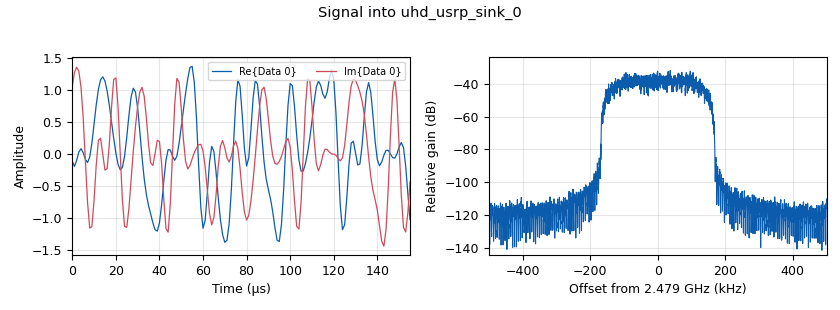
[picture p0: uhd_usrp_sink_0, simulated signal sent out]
<?xml version='1.0' encoding='utf-8'?>
<?grc format='1' created='3.7.12'?>
<flow_graph>
<block>
<key>options</key>
<param><key>id</key><value>energy_detector</value></param>
<param><key>generate_options</key><value>qt_gui</value></param>
</block>
<block>
<key>variable</key>
<param><key>id</key><value>center_freq</value></param>
<param><key>value</key><value>2480e6</value></param>
</block>
<block>
<key>variable_qtgui_check_box</key>
<param><key>id</key><value>enable_tx</value></param>
<param><key>value</key><value>True</value></param>
<param><key>false</key><value>0</value></param>
<param><key>true</key><value>1</value></param>
<param><key>type</key><value>raw</value></param>
</block>
<block>
<key>variable_qtgui_range</key>
<param><key>id</key><value>gain</value></param>
<param><key>value</key><value>1</value></param>
<param><key>orient</key><value>Qt.Horizontal</value></param>
<param><key>start</key><value>0</value></param>
<param><key>step</key><value>1</value></param>
<param><key>stop</key><value>50</value></param>
</block>
<block>
<key>variable_qtgui_range</key>
<param><key>id</key><value>gain_rx</value></param>
<param><key>value</key><value>20</value></param>
<param><key>orient</key><value>Qt.Horizontal</value></param>
<param><key>start</key><value>0</value></param>
<param><key>step</key><value>1</value></param>
<param><key>stop</key><value>60</value></param>
</block>
<block>
<key>variable_qtgui_range</key>
<param><key>id</key><value>gain_tx</value></param>
<param><key>value</key><value>10</value></param>
<param><key>orient</key><value>Qt.Horizontal</value></param>
<param><key>start</key><value>0</value></param>
<param><key>step</key><value>1</value></param>
<param><key>stop</key><value>50</value></param>
</block>
<block>
<key>variable</key>
<param><key>id</key><value>rx_device</value></param>
<param><key>value</key><value>"serial=30F551E"</value></param>
</block>
<block>
<key>variable</key>
<param><key>id</key><value>samp_rate</value></param>
<param><key>value</key><value>4e6</value></param>
</block>
<block>
<key>variable</key>
<param><key>id</key><value>samp_rate_tx</value></param>
<param><key>value</key><value>1e6</value></param>
</block>
<block>
<key>variable_qtgui_range</key>
<param><key>id</key><value>tx_center_freq</value></param>
<param><key>value</key><value>2479e6</value></param>
<param><key>orient</key><value>Qt.Horizontal</value></param>
<param><key>start</key><value>2479e6</value></param>
<param><key>step</key><value>1e6</value></param>
<param><key>stop</key><value>2481e6</value></param>
</block>
<block>
<key>variable</key>
<param><key>id</key><value>tx_device</value></param>
<param><key>value</key><value>"serial=30FD822"</value></param>
</block>
<block>
<key>analog_random_source_x</key>
<param><key>id</key><value>analog_random_source_x_0</value></param>
<param><key>max</key><value>256</value></param>
<param><key>min</key><value>0</value></param>
<param><key>num_samps</key><value>1000</value></param>
<param><key>type</key><value>byte</value></param>
<param><key>repeat</key><value>True</value></param>
</block>
<block>
<key>blocks_multiply_const_vxx</key>
<param><key>id</key><value>blocks_multiply_const_vxx_1</value></param>
<param><key>const</key><value>gain</value></param>
<param><key>type</key><value>complex</value></param>
</block>
<block>
<key>blocks_multiply_const_vxx</key>
<param><key>id</key><value>blocks_multiply_const_vxx_1_0</value></param>
<param><key>const</key><value>gain</value></param>
<param><key>type</key><value>complex</value></param>
<param><key>vlen</key><value>enable_tx</value></param>
</block>
<block>
<key>digital_dxpsk_mod</key>
<param><key>id</key><value>digital_dxpsk_mod_0</value></param>
<param><key>excess_bw</key><value>0.35</value></param>
<param><key>mod_code</key><value>"gray"</value></param>
<param><key>log</key><value>False</value></param>
<param><key>samples_per_symbol</key><value>4</value></param>
<param><key>type</key><value>dqpsk</value></param>
<param><key>verbose</key><value>False</value></param>
</block>
<block>
<key>qtgui_freq_sink_x</key>
<param><key>id</key><value>qtgui_freq_sink_x_0_0</value></param>
<param><key>bw</key><value>samp_rate</value></param>
<param><key>fc</key><value>center_freq</value></param>
<param><key>ctrlpanel</key><value>True</value></param>
<param><key>fftsize</key><value>1024</value></param>
<param><key>grid</key><value>True</value></param>
<param><key>name</key><value>Receiver spectrum</value></param>
<param><key>showports</key><value>True</value></param>
<param><key>type</key><value>complex</value></param>
<param><key>wintype</key><value>firdes.WIN_BLACKMAN_hARRIS</value></param>
</block>
<block>
<key>qtgui_freq_sink_x</key>
<param><key>id</key><value>qtgui_freq_sink_x_0_0_0</value></param>
<param><key>bw</key><value>samp_rate_tx</value></param>
<param><key>fc</key><value>tx_center_freq</value></param>
<param><key>ctrlpanel</key><value>True</value></param>
<param><key>_enabled</key><value>0</value></param>
<param><key>fftsize</key><value>1024</value></param>
<param><key>grid</key><value>True</value></param>
<param><key>name</key><value>Transmiter spectrum</value></param>
<param><key>showports</key><value>True</value></param>
<param><key>type</key><value>complex</value></param>
<param><key>wintype</key><value>firdes.WIN_BLACKMAN_hARRIS</value></param>
</block>
<block>
<key>qtgui_waterfall_sink_x</key>
<param><key>id</key><value>qtgui_waterfall_sink_x_0</value></param>
<param><key>bw</key><value>samp_rate</value></param>
<param><key>fc</key><value>center_freq</value></param>
<param><key>fftsize</key><value>1024</value></param>
<param><key>showports</key><value>True</value></param>
<param><key>type</key><value>complex</value></param>
<param><key>wintype</key><value>firdes.WIN_BLACKMAN_hARRIS</value></param>
</block>
<block>
<key>uhd_usrp_sink</key>
<param><key>id</key><value>uhd_usrp_sink_0</value></param>
<param><key>ant0</key><value>TX/RX</value></param>
<param><key>center_freq0</key><value>tx_center_freq</value></param>
<param><key>norm_gain0</key><value>False</value></param>
<param><key>gain0</key><value>gain_tx</value></param>
<param><key>clock_rate</key><value>0.0</value></param>
<param><key>dev_addr</key><value>tx_device</value></param>
<param><key>dev_args</key><value>""</value></param>
<param><key>type</key><value>fc32</value></param>
<param><key>samp_rate</key><value>samp_rate_tx</value></param>
<param><key>hide_cmd_port</key><value>False</value></param>
<param><key>hide_lo_controls</key><value>True</value></param>
<param><key>sync</key><value></value></param>
<param><key>len_tag_name</key><value></value></param>
</block>
<block>
<key>uhd_usrp_source</key>
<param><key>id</key><value>uhd_usrp_source_0</value></param>
<param><key>ant0</key><value>TX/RX</value></param>
<param><key>center_freq0</key><value>center_freq</value></param>
<param><key>dc_offs_enb0</key><value>""</value></param>
<param><key>iq_imbal_enb0</key><value>""</value></param>
<param><key>norm_gain0</key><value>False</value></param>
<param><key>gain0</key><value>gain_rx</value></param>
<param><key>clock_rate</key><value>0.0</value></param>
<param><key>dev_addr</key><value>rx_device</value></param>
<param><key>dev_args</key><value>""</value></param>
<param><key>type</key><value>fc32</value></param>
<param><key>samp_rate</key><value>samp_rate</value></param>
<param><key>hide_cmd_port</key><value>False</value></param>
<param><key>hide_lo_controls</key><value>True</value></param>
<param><key>sync</key><value></value></param>
</block>
<connection><source_block_id>analog_random_source_x_0</source_block_id><sink_block_id>digital_dxpsk_mod_0</sink_block_id><source_key>0</source_key><sink_key>0</sink_key></connection>
<connection><source_block_id>blocks_multiply_const_vxx_1</source_block_id><sink_block_id>blocks_multiply_const_vxx_1_0</sink_block_id><source_key>0</source_key><sink_key>0</sink_key></connection>
<connection><source_block_id>blocks_multiply_const_vxx_1_0</source_block_id><sink_block_id>qtgui_freq_sink_x_0_0_0</sink_block_id><source_key>0</source_key><sink_key>0</sink_key></connection>
<connection><source_block_id>blocks_multiply_const_vxx_1_0</source_block_id><sink_block_id>uhd_usrp_sink_0</sink_block_id><source_key>0</source_key><sink_key>0</sink_key></connection>
<connection><source_block_id>digital_dxpsk_mod_0</source_block_id><sink_block_id>blocks_multiply_const_vxx_1</sink_block_id><source_key>0</source_key><sink_key>0</sink_key></connection>
<connection><source_block_id>uhd_usrp_source_0</source_block_id><sink_block_id>qtgui_freq_sink_x_0_0</sink_block_id><source_key>0</source_key><sink_key>0</sink_key></connection>
<connection><source_block_id>uhd_usrp_source_0</source_block_id><sink_block_id>qtgui_waterfall_sink_x_0</sink_block_id><source_key>0</source_key><sink_key>0</sink_key></connection>
</flow_graph>
